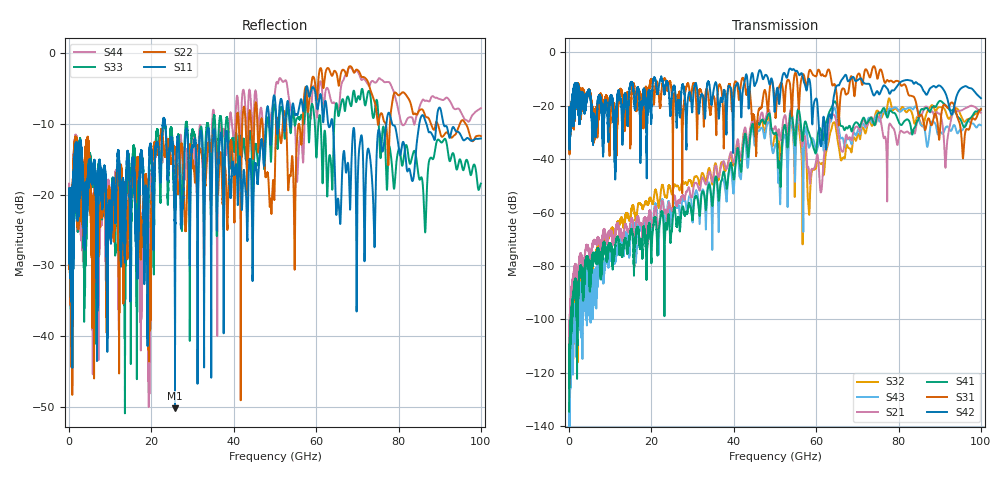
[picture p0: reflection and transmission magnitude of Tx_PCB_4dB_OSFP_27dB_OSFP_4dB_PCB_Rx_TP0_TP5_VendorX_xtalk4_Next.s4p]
! Info: Touchstone file created by Circ.  Input file=Tx_PCB_4dB_OSFP_27dB_OSFP_4dB_PCB_Rx_TP0_TP5_VendorX.circ
# Hz S RI R 50
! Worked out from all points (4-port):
!   10000 points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, 10 MHz to 100 GHz, reference 50 ohm
!   strongest paths, dB at 10 MHz, 25.01 GHz, 50.01 GHz, 75.01 GHz, 100 GHz:
!     S42: -22.6, -15.9, -20.6, -14.9, -17.2
!     S31: -22.5, -18.9, -21.4, -9.5, -21.5
!     S41: -134.5, -65.8, -30.3, -22.7, -21.4
!     S21: -126.2, -59.2, -27.7, -24.1, -22.6
!     S43: -152.7, -63.1, -34.9, -24.4, -27.3
!     S32: -134.8, -53.0, -30.7, -22.0, -21.1
!   lowest |S11| = -50.2 dB at 25.72 GHz (marker M1), VSWR 1.01, Z = 50 - j0.309 ohm
!   |S11| at or under -10 dB: start of sweep to 22.76 GHz; 23.31 GHz to 47.76 GHz (24.45 GHz wide, 68.8 % of centre); 64.02 GHz to 77.02 GHz (13 GHz wide, 18.4 % of centre) (the widest 3 of 11)
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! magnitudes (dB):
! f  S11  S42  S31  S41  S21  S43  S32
! 10 MHz  -19.8  -22.6  -22.5  -134.5  -126.2  -152.7  -134.8
! 25.72 GHz  -50.2  -13.8  -15.4  -58.7  -53.9  -55.4  -49.5
! 48.37 GHz  -7.9  -10.1  -21.2  -23.2  -21.5  -26.1  -24.3
! 51.09 GHz  -7.6  -18.9  -12.6  -41.6  -29.9  -49.0  -35.9
! 58.28 GHz  -6.1  -9.9  -7.1  -30.2  -45.3  -35.7  -60.5
! 64.24 GHz  -11.9  -17.0  -12.0  -18.9  -23.4  -21.2  -26.3
! 100 GHz  -12.1  -17.2  -21.5  -21.4  -22.6  -27.3  -21.1
